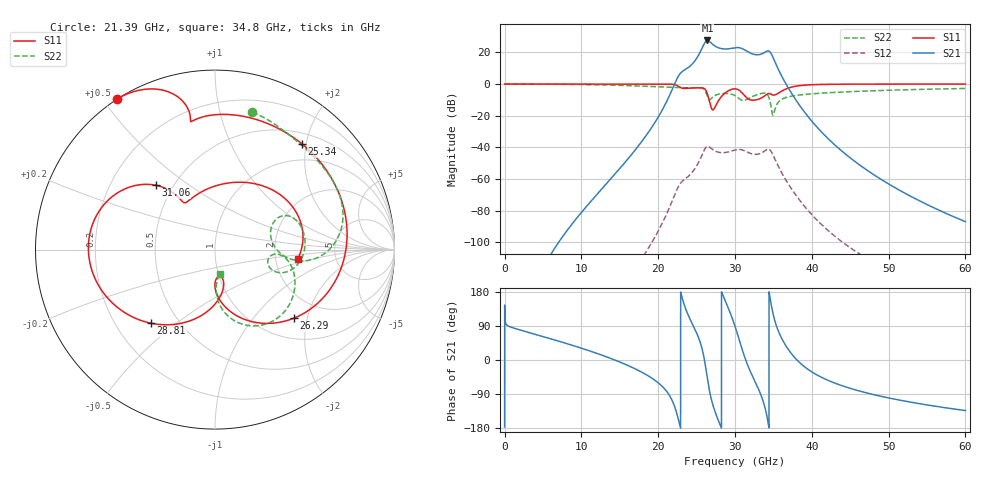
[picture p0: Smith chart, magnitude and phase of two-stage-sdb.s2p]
! Touchstone Ver. 1.0
! Fri May  5 20:04:56 2023
! Number of ports is 2
# Hz	S	DB	R	50.000000
! SCATTERING PARAMETERS  :
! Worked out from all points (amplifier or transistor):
!   6000 points, 10 MHz to 60 GHz, reference 50 ohm
!   highest |S21| = 27.6 dB at 26.41 GHz (marker M1)
!   |S21| within 3 dB of that: 25.9 GHz to 27.24 GHz (1.335 GHz wide, 5.02 % of centre)
!   unconditionally stable (mu >= 1): 35.54 MHz to 7.02 GHz; 21.49 GHz to end of sweep
!   at 10.01 GHz: K = -1185215.09, MSG = 42.1 dB, |S12| = -165.4 dB
!   at 30.01 GHz: K = 1.94, MAG = 26.7 dB, |S12| = -41.6 dB
!   at 60 GHz: K = 25876847.14, MAG = -51.9 dB, |S12| = -137.8 dB
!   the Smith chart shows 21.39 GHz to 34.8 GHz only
!   S11 on the Smith chart (normalised r, x): 21.39 GHz: -0.00, +0.54; 25.34 GHz: 0.68, +1.92; 26.29 GHz: 1.43, -1.66; 28.81 GHz: 0.35, -0.41; 31.06 GHz: 0.40, +0.38; 34.8 GHz: 2.67, -0.37
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1e7  -0.00 180.0  -394.41 -176.8  -603.59 30.3  -0.00 180.0
1.001e10  0.00 167.3  -81.13 31.1  -165.42 -133.1  -0.31 142.3
2.001e10  0.04 135.9  -20.85 -60.2  -92.86 150.9  -1.72 85.8
2.139e10  0.01 122.9  -8.17 -90.9  -78.98 122.3  -2.00 74.8
2.368e10  -2.71 98.8  9.60 129.8  -59.36 -13.6  -2.42 53.0
2.534e10  -2.35 50.6  18.99 54.7  -48.74 -86.2  -2.39 27.4
2.583e10  -2.49 14.7  23.81 20.0  -43.56 -120.2  -2.81 11.4
2.629e10  -4.70 -41.1  27.37 -33.4  -39.68 -172.9  -6.09 -7.3
2.641e10  -6.20 -57.0  27.55 -49.4  -39.41 171.3  -7.74 -6.6
2.674e10  -11.97 -87.4  26.67 -87.3  -40.07 133.9  -9.86 15.8
2.729e10  -15.56 -75.5  24.37 -129.3  -41.99 92.7  -7.50 26.5
2.881e10  -5.30 -131.0  22.15 153.0  -43.20 17.2  -5.96 5.8
3.001e10  -3.04 175.8  22.98 88.8  -41.61 -45.3  -7.33 -16.0
3.106e10  -6.25 132.6  22.12 20.0  -41.83 -112.5  -10.44 -11.5
3.203e10  -10.04 123.6  19.54 -31.6  -43.83 -162.7  -8.39 -5.6
3.356e10  -8.47 79.3  19.22 -102.1  -43.27 129.0  -5.84 -33.2
3.431e10  -6.10 27.1  21.00 -164.6  -41.07 67.5  -7.25 -71.3
3.48e10  -6.68 -6.7  18.44 137.4  -43.35 10.2  -17.23 -79.0
3.577e10  -5.39 -31.3  8.05 70.7  -53.22 -55.2  -10.81 -11.5
4.001e10  -0.42 -107.0  -23.48 -31.4  -82.59 -151.4  -6.18 -48.1
5.001e10  -0.02 -145.7  -63.15 -100.1  -117.80 153.1  -3.91 -87.3
6e10  -0.00 -156.4  -86.97 -133.4  -137.83 132.0  -2.79 -107.1
